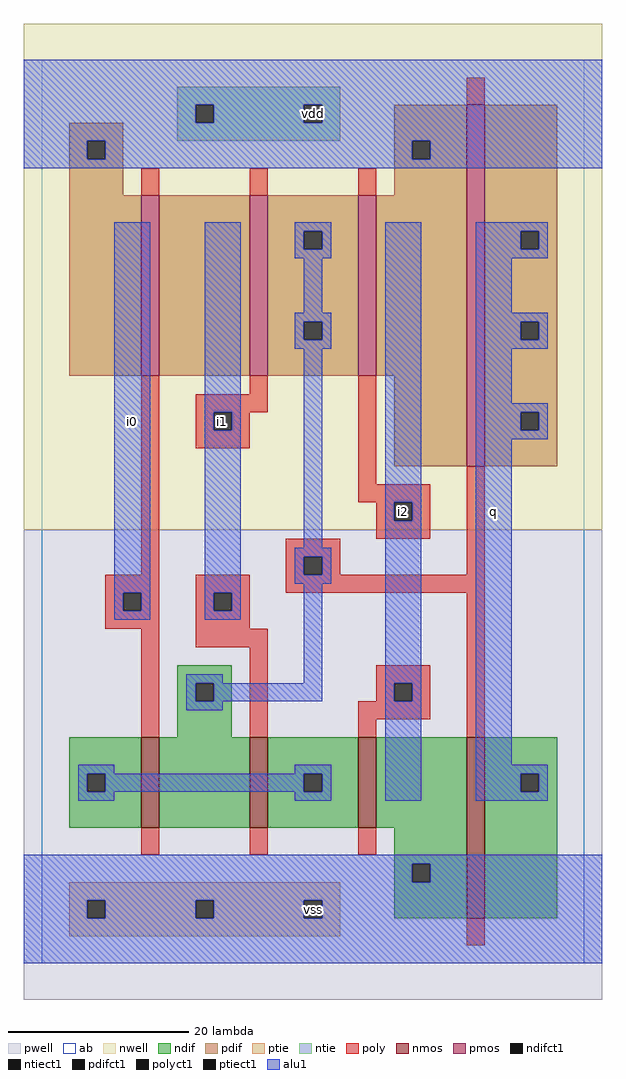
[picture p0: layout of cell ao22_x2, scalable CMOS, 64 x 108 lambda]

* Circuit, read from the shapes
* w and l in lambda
.subckt ao22_x2 i0 i1 i2 q vdd vss
M1 n1 i0 n2 vss nfet w=10 l=2
M2 n2 i1 n1 vss nfet w=10 l=2
M3 vss i2 n2 vss nfet w=10 l=2
M4 q n1 vss vss nfet w=20 l=2
M5 n3 i0 vdd vdd pfet w=20 l=2
M6 n1 i1 n3 vdd pfet w=20 l=2
M7 vdd i2 n1 vdd pfet w=20 l=2
M8 q n1 vdd vdd pfet w=40 l=2
.ends

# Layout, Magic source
magic
tech scmos
<< ab >>
rect 0 0 60 100
<< nwell >>
rect -2 48 62 104
<< pwell >>
rect -2 -4 62 48
<< poly >>
rect 47 95 49 98
rect 11 85 13 88
rect 23 85 25 88
rect 35 85 37 88
rect 11 43 13 65
rect 23 63 25 65
rect 17 61 25 63
rect 17 59 19 61
rect 21 59 23 61
rect 17 57 23 59
rect 35 53 37 65
rect 35 51 43 53
rect 37 49 39 51
rect 41 49 43 51
rect 37 47 43 49
rect 27 45 33 47
rect 27 43 29 45
rect 31 43 33 45
rect 47 43 49 55
rect 7 41 13 43
rect 7 39 9 41
rect 11 39 13 41
rect 7 37 13 39
rect 11 25 13 37
rect 17 41 23 43
rect 27 41 49 43
rect 17 39 19 41
rect 21 39 23 41
rect 17 37 23 39
rect 17 35 25 37
rect 23 25 25 35
rect 37 31 43 33
rect 37 29 39 31
rect 41 29 43 31
rect 35 27 43 29
rect 35 25 37 27
rect 47 25 49 41
rect 11 12 13 15
rect 23 12 25 15
rect 35 12 37 15
rect 47 2 49 5
<< ndif >>
rect 15 31 21 33
rect 15 29 17 31
rect 19 29 21 31
rect 15 25 21 29
rect 3 21 11 25
rect 3 19 5 21
rect 7 19 11 21
rect 3 15 11 19
rect 13 15 23 25
rect 25 21 35 25
rect 25 19 29 21
rect 31 19 35 21
rect 25 15 35 19
rect 37 15 47 25
rect 39 11 47 15
rect 39 9 41 11
rect 43 9 47 11
rect 39 5 47 9
rect 49 21 57 25
rect 49 19 53 21
rect 55 19 57 21
rect 49 5 57 19
<< pdif >>
rect 3 91 9 93
rect 39 91 47 95
rect 3 89 5 91
rect 7 89 9 91
rect 3 85 9 89
rect 39 89 41 91
rect 43 89 47 91
rect 39 85 47 89
rect 3 65 11 85
rect 13 65 23 85
rect 25 81 35 85
rect 25 79 29 81
rect 31 79 35 81
rect 25 71 35 79
rect 25 69 29 71
rect 31 69 35 71
rect 25 65 35 69
rect 37 65 47 85
rect 39 55 47 65
rect 49 81 57 95
rect 49 79 53 81
rect 55 79 57 81
rect 49 71 57 79
rect 49 69 53 71
rect 55 69 57 71
rect 49 61 57 69
rect 49 59 53 61
rect 55 59 57 61
rect 49 55 57 59
<< alu1 >>
rect -2 95 62 100
rect -2 93 17 95
rect 19 93 29 95
rect 31 93 62 95
rect -2 91 62 93
rect -2 89 5 91
rect 7 89 41 91
rect 43 89 62 91
rect -2 88 62 89
rect 8 41 12 82
rect 8 39 9 41
rect 11 39 12 41
rect 8 38 12 39
rect 18 61 22 82
rect 28 81 32 82
rect 28 79 29 81
rect 31 79 32 81
rect 28 78 32 79
rect 29 72 31 78
rect 28 71 32 72
rect 28 69 29 71
rect 31 69 32 71
rect 28 68 32 69
rect 18 59 19 61
rect 21 59 22 61
rect 18 41 22 59
rect 29 46 31 68
rect 38 51 42 82
rect 38 49 39 51
rect 41 49 42 51
rect 28 45 32 46
rect 28 43 29 45
rect 31 43 32 45
rect 28 42 32 43
rect 18 39 19 41
rect 21 39 22 41
rect 18 38 22 39
rect 16 31 20 32
rect 29 31 31 42
rect 16 29 17 31
rect 19 29 31 31
rect 38 31 42 49
rect 38 29 39 31
rect 41 29 42 31
rect 16 28 20 29
rect 4 21 8 22
rect 28 21 32 22
rect 4 19 5 21
rect 7 19 29 21
rect 31 19 32 21
rect 4 18 8 19
rect 28 18 32 19
rect 38 18 42 29
rect 48 81 56 82
rect 48 79 53 81
rect 55 79 56 81
rect 48 78 56 79
rect 48 72 52 78
rect 48 71 56 72
rect 48 69 53 71
rect 55 69 56 71
rect 48 68 56 69
rect 48 62 52 68
rect 48 61 56 62
rect 48 59 53 61
rect 55 59 56 61
rect 48 58 56 59
rect 48 22 52 58
rect 48 21 56 22
rect 48 19 53 21
rect 55 19 56 21
rect 48 18 56 19
rect -2 11 62 12
rect -2 9 41 11
rect 43 9 62 11
rect -2 7 62 9
rect -2 5 5 7
rect 7 5 17 7
rect 19 5 29 7
rect 31 5 62 7
rect -2 0 62 5
<< ptie >>
rect 3 7 33 9
rect 3 5 5 7
rect 7 5 17 7
rect 19 5 29 7
rect 31 5 33 7
rect 3 3 33 5
<< ntie >>
rect 15 95 33 97
rect 15 93 17 95
rect 19 93 29 95
rect 31 93 33 95
rect 15 91 33 93
<< nmos >>
rect 11 15 13 25
rect 23 15 25 25
rect 35 15 37 25
rect 47 5 49 25
<< pmos >>
rect 11 65 13 85
rect 23 65 25 85
rect 35 65 37 85
rect 47 55 49 95
<< polyct1 >>
rect 19 59 21 61
rect 39 49 41 51
rect 29 43 31 45
rect 9 39 11 41
rect 19 39 21 41
rect 39 29 41 31
<< ndifct1 >>
rect 17 29 19 31
rect 5 19 7 21
rect 29 19 31 21
rect 41 9 43 11
rect 53 19 55 21
<< ntiect1 >>
rect 17 93 19 95
rect 29 93 31 95
<< ptiect1 >>
rect 5 5 7 7
rect 17 5 19 7
rect 29 5 31 7
<< pdifct1 >>
rect 5 89 7 91
rect 41 89 43 91
rect 29 79 31 81
rect 29 69 31 71
rect 53 79 55 81
rect 53 69 55 71
rect 53 59 55 61
<< labels >>
rlabel alu1 10 60 10 60 6 i0
rlabel polyct1 20 60 20 60 6 i1
rlabel ptiect1 30 6 30 6 6 vss
rlabel polyct1 40 50 40 50 6 i2
rlabel ntiect1 30 94 30 94 6 vdd
rlabel alu1 50 50 50 50 6 q
<< end >>
